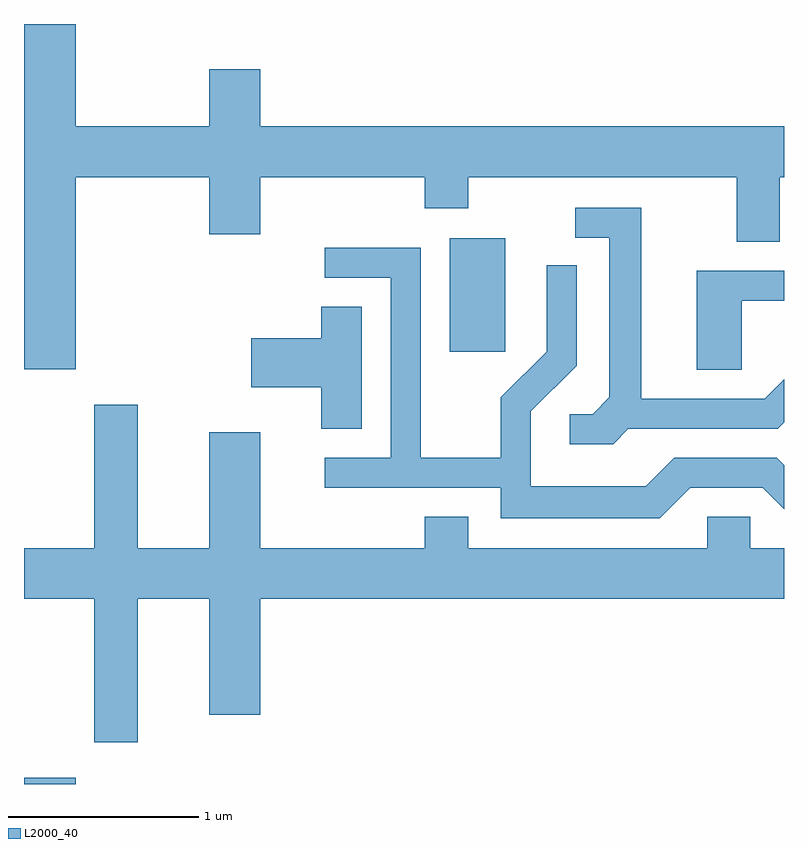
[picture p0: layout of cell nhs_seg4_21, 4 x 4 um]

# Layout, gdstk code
import gdstk
lib = gdstk.Library(unit=1e-6, precision=1e-09)
def R(c, l, rs):  # rectangles x0, y0, x1, y1
    for r in rs: c.add(gdstk.rectangle(r[:2], r[2:], *l))
def P(c, l, *ps):  # polygons
    for p in ps: c.add(gdstk.Polygon(p, *l))
L2000_40 = (2000, 40)

nhs_seg4_21 = lib.new_cell('nhs_seg4_21')
R(nhs_seg4_21, L2000_40, [(185.611,1295.982,185.884,1296.014), (187.851,1298.256,188.144,1298.854)])
P(nhs_seg4_21, L2000_40, [(185.884,1299.176),(186.586,1299.176),(186.586,1298.876),(186.854,1298.876),(186.854,1299.176),(187.721,1299.176),(187.721,1299.011),(187.949,1299.011),(187.949,1299.176),(189.361,1299.176),(189.361,1298.836),(189.589,1298.836),(189.589,1299.176),(189.611,1299.176),(189.611,1299.444),(186.854,1299.444),(186.854,1299.744),(186.586,1299.744),(186.586,1299.444),(185.884,1299.444),(185.884,1299.982),(185.611,1299.982),(185.611,1298.166),(185.884,1298.166)],
  [(188.792,1297.851),(189.577,1297.851),(189.611,1297.885),(189.611,1298.112),(189.509,1298.009),(188.859,1298.009),(188.859,1299.014),(188.513,1299.014),(188.513,1298.856),(188.691,1298.856),(188.691,1298.017),(188.604,1297.929),(188.483,1297.929),(188.483,1297.771),(188.712,1297.771)],
  [(189.117,1297.541),(189.499,1297.541),(189.611,1297.429),(189.611,1297.66),(189.572,1297.699),(189.034,1297.699),(188.884,1297.549),(188.279,1297.549),(188.279,1297.944),(188.519,1298.184),(188.519,1298.713),(188.361,1298.713),(188.361,1298.257),(188.121,1298.017),(188.121,1297.699),(187.699,1297.699),(187.699,1298.804),(187.193,1298.804),(187.193,1298.646),(187.541,1298.646),(187.541,1297.699),(187.193,1297.699),(187.193,1297.541),(188.121,1297.541),(188.121,1297.381),(188.957,1297.381)],
  [(189.389,1298.526),(189.611,1298.526),(189.611,1298.684),(189.151,1298.684),(189.151,1298.161),(189.389,1298.161)],
  [(187.389,1298.494),(187.176,1298.494),(187.176,1298.329),(186.806,1298.329),(186.806,1298.071),(187.176,1298.071),(187.176,1297.851),(187.389,1297.851)],
  [(186.209,1296.956),(186.586,1296.956),(186.586,1296.346),(186.854,1296.346),(186.854,1296.956),(189.611,1296.956),(189.611,1297.224),(189.434,1297.224),(189.434,1297.389),(189.206,1297.389),(189.206,1297.224),(187.949,1297.224),(187.949,1297.389),(187.721,1297.389),(187.721,1297.224),(186.854,1297.224),(186.854,1297.834),(186.586,1297.834),(186.586,1297.224),(186.209,1297.224),(186.209,1297.979),(185.981,1297.979),(185.981,1297.224),(185.611,1297.224),(185.611,1296.956),(185.981,1296.956),(185.981,1296.201),(186.209,1296.201)])

lib.write_gds('nhs_seg4_21.gds')
